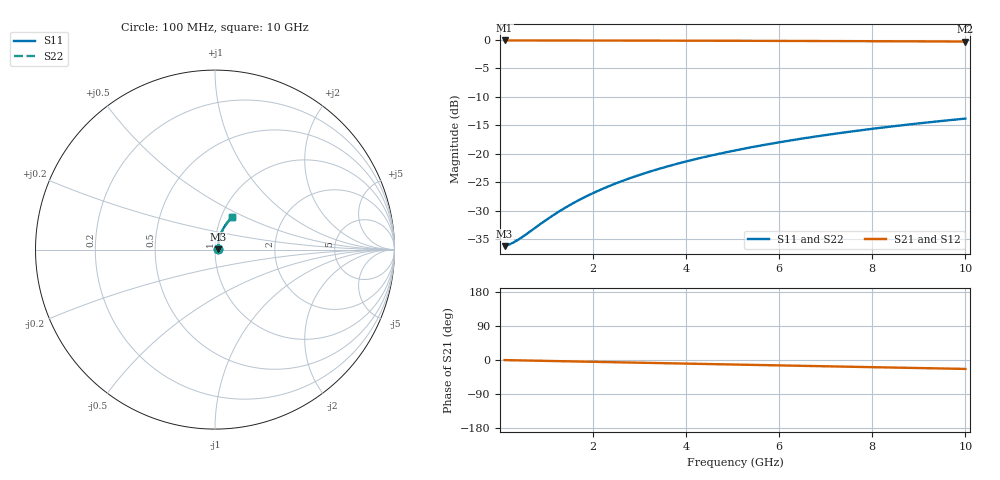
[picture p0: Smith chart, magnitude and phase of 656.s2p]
# Hz S RI R 50.00
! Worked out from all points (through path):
!   100 points, 100 MHz to 10 GHz, reference 50 ohm
!   highest |S21| = -0.13 dB at 100 MHz (marker M1); lowest = -0.3 dB at 10 GHz (marker M2)
!   group delay of S21, straight-line fit = 6.54 ps
!   lowest |S11| = -36.2 dB at 100 MHz (marker M3), VSWR 1.03, Z = 51.6 + j0.212 ohm
!   |S11| at or under -10 dB: start of sweep to end of sweep
!   |S22| runs from -36.2 to -13.8 dB; largest |S21 - S12| = 0
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1e8  0.0154 0.00205  0.9846 -0.0041  0.9846 -0.0041  0.0154 0.00205
2e8  0.0155 0.00411  0.9845 -0.0082  0.9845 -0.0082  0.0155 0.00411
3e8  0.0156 0.00616  0.9844 -0.0123  0.9844 -0.0123  0.0156 0.00616
4e8  0.0157 0.00821  0.9842 -0.0164  0.9842 -0.0164  0.0157 0.00821
1e9  0.0167 0.0205  0.9831 -0.0409  0.9831 -0.0409  0.0167 0.0205
1.2e9  0.0171 0.0246  0.9826 -0.0491  0.9826 -0.0491  0.0171 0.0246
1.5e9  0.0179 0.0307  0.9816 -0.0614  0.9816 -0.0614  0.0179 0.0307
1.8e9  0.0188 0.0368  0.9805 -0.0736  0.9805 -0.0736  0.0188 0.0368
2.1e9  0.0198 0.0428  0.9792 -0.0858  0.9792 -0.0858  0.0198 0.0428
2.5e9  0.0215 0.0508  0.9772 -0.102  0.9772 -0.102  0.0215 0.0508
2.9e9  0.0234 0.0588  0.9748 -0.1181  0.9748 -0.1181  0.0234 0.0588
3.4e9  0.0261 0.0686  0.9714 -0.1382  0.9714 -0.1382  0.0261 0.0686
3.8e9  0.0286 0.0764  0.9683 -0.1541  0.9683 -0.1541  0.0286 0.0764
4.2e9  0.0313 0.0841  0.9649 -0.17  0.9649 -0.17  0.0313 0.0841
4.6e9  0.0342 0.0916  0.9612 -0.1857  0.9612 -0.1857  0.0342 0.0916
5.1e9  0.0383 0.1009  0.9561 -0.2053  0.9561 -0.2053  0.0383 0.1009
5.9e9  0.0455 0.1154  0.947 -0.2361  0.947 -0.2361  0.0455 0.1154
6.7e9  0.0537 0.1293  0.9367 -0.2664  0.9367 -0.2664  0.0537 0.1293
7.5e9  0.0627 0.1426  0.9253 -0.2961  0.9253 -0.2961  0.0627 0.1426
8.4e9  0.0738 0.1567  0.9111 -0.3286  0.9111 -0.3286  0.0738 0.1567
9.2e9  0.0844 0.1685  0.8974 -0.3568  0.8974 -0.3568  0.0844 0.1685
1e10  0.0957 0.1795  0.8828 -0.3842  0.8828 -0.3842  0.0957 0.1795
